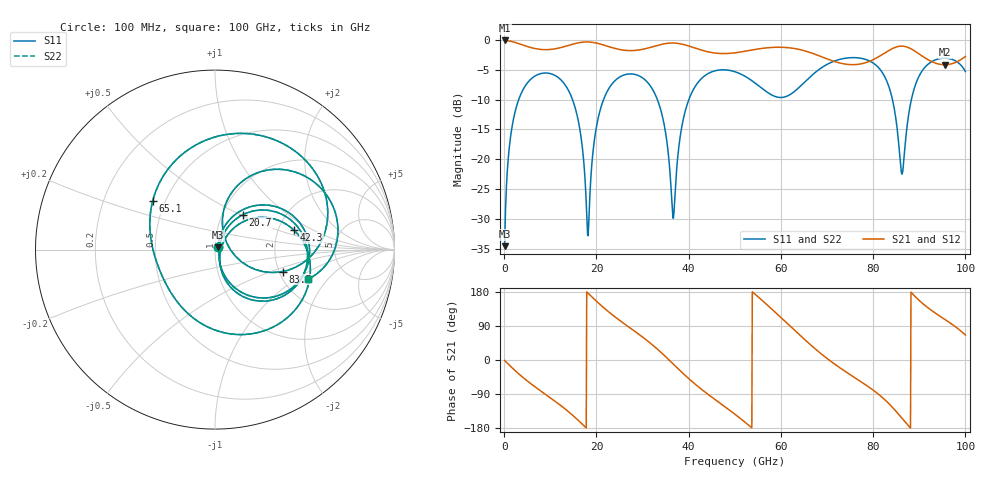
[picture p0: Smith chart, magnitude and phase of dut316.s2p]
! Touchstone file exported from HFSS 2026.1.0
!  File:  C:/ffzhzh/LocalFiles/Ansys_Project_Files/temp_train_TSV_RDL_316_1783700466_45496.aedt
!  Generated:  12:34:55 AM Jul 11, 2026
!  Design:  TSV_RDL
!  Project:  temp_train_TSV_RDL_316_1783700466_45496
! Variables:
!  h_bsmrdl = 4.02um
!  h_ox = 20um
!  h_rdl = 5um
!  h_sub = 89.79um
!  h_tmrdl = 4.48um
!  h_tsv = 89.79um
!  h_via = 3um
!  l_bsmrdl = 275.6um
!  l_sub = 3267.69um
!  l_tmrdl = 480.23um
!  m_sub = 200um
!  pitch = 52.05um
!  r_tsv = 6.82um
!  s_tmrdl = 10um
!  w_bsmrdl = 10.94um
!  w_sub = 500um
!  w_tmrdl = 29.05um
!  x_tsv_center1 = 494.755um
!  x_tsv_center2 = 781.295um
!  x_tsv_center3 = 1290.575um
!  x_tsv_center4 = 1577.115um
!  x_tsv_center5 = 2086.395um
!  x_tsv_center6 = 2372.935um
# GHz S MA R 50.000000
! Terminal data exported
! Port[1] = TM_RDL1_1_T1
! Port[2] = TM_RDL5_1_T1
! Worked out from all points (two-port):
!   1000 points, 100 MHz to 100 GHz, reference 50 ohm
!   highest |S21| = -0.13 dB at 100 MHz (marker M1); lowest = -4.2 dB at 95.5 GHz (marker M2)
!   |S21| within 3 dB of the highest: start of sweep to 69.72 GHz; 80.54 GHz to 91.43 GHz (10.89 GHz wide, 12.7 % of centre) (the widest 2 of 3)
!   lowest |S11| = -34.5 dB at 100 MHz (marker M3), VSWR 1.04, Z = 51.5 + j1.22 ohm
!   |S11| at or under -10 dB: 14.82 GHz to 21.56 GHz (6.742 GHz wide, 37.1 % of centre); 33.22 GHz to 40.05 GHz (6.836 GHz wide, 18.7 % of centre); 84.18 GHz to 88.29 GHz (4.11 GHz wide, 4.77 % of centre) (the widest 3 of 4)
!   |S22| runs from -34.5 to -3.0 dB; largest |S21 - S12| = 3.9e-14
!   S11 on the Smith chart (normalised r, x): 100 MHz: 1.03, +0.02; 20.7 GHz: 1.25, +0.52; 42.3 GHz: 2.43, +0.67; 65.1 GHz: 0.43, +0.29; 83.5 GHz: 2.09, -0.61; 100 GHz: 2.70, -1.27
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0.1  0.01882 39.0  0.9856 -1.3  0.9856 -1.3  0.01882 39.0
! Gamma 0 0 0 0
! Port Impedance 50 0 50 0
1.8  0.1958 63.0  0.9618 -21.5  0.9618 -21.5  0.1958 63.0
5.5  0.4564 27.3  0.8662 -59.9  0.8662 -59.9  0.4564 27.3
12  0.4736 -27.9  0.8541 -117.4  0.8541 -117.4  0.4737 -28.0
16.8  0.141 -70.3  0.9514 -167.6  0.9514 -167.6  0.1411 -70.5
18.2  0.02302 6.0  0.9575 176.1  0.9575 176.1  0.02245 5.9
20.7  0.2484 51.4  0.9227 147.5  0.9227 147.5  0.2483 51.5
27  0.5171 -4.0  0.8111 87.2  0.8111 87.2  0.5171 -3.9
33.4  0.3027 -59.5  0.8997 26.9  0.8997 26.9  0.3027 -59.4
36.7  0.03226 -3.2  0.9381 -11.0  0.9381 -11.0  0.03254 -3.3
42.3  0.4523 14.0  0.829 -72.6  0.829 -72.6  0.4522 14.0
50.1  0.5388 -53.5  0.7774 -143.7  0.7774 -143.7  0.5387 -53.5
56.6  0.3741 -118.3  0.8525 150.1  0.8525 150.1  0.3738 -118.4
65.1  0.4406 142.0  0.8088 54.6  0.8088 54.6  0.4404 142.0
66.7  0.5034 124.5  0.773 37.2  0.773 37.2  0.5032 124.5
77.4  0.6989 32.8  0.6285 -57.5  0.6285 -57.5  0.6988 32.9
83.4  0.4066 -17.2  0.8122 -115.0  0.8122 -115.0  0.4067 -17.0
83.5  0.3959 -18.0  0.8164 -116.2  0.8164 -116.2  0.396 -17.9
86.3  0.07548 30.5  0.8837 -154.4  0.8837 -154.4  0.07655 30.5
89.5  0.4536 64.5  0.7821 162.7  0.7821 162.7  0.4537 64.4
95.5  0.701 16.9  0.6177 107.4  0.6177 107.4  0.7011 16.9
100  0.5424 -17.7  0.7235 65.8  0.7235 65.8  0.5425 -17.6
